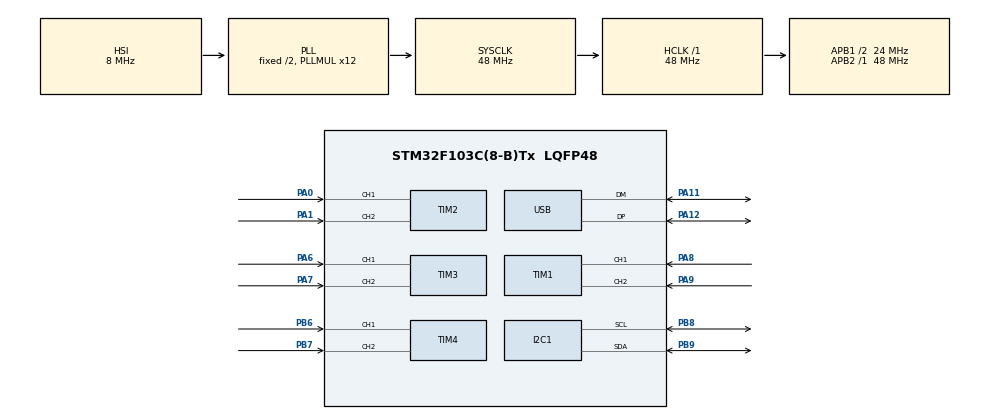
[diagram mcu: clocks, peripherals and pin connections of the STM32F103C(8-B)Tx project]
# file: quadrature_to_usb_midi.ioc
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Mcu.Family=STM32F1
Mcu.Name=STM32F103C(8-B)Tx
Mcu.Package=LQFP48
NVIC.I2C1_EV_IRQn=true\:0\:0\:false\:false\:true\:true\:true\:true
NVIC.PriorityGroup=NVIC_PRIORITYGROUP_4
NVIC.USB_LP_CAN1_RX0_IRQn=true\:0\:0\:false\:false\:true\:false\:true\:true
PA0-WKUP.GPIO_PuPd=GPIO_PULLUP
PA0-WKUP.Signal=S_TIM2_CH1_ETR
PA1.GPIO_PuPd=GPIO_PULLUP
PA1.Signal=S_TIM2_CH2
PA11.Mode=Device
PA11.Signal=USB_DM
PA12.Mode=Device
PA12.Signal=USB_DP
PA13.Mode=Serial_Wire
PA13.Signal=SYS_JTMS-SWDIO
PA14.Mode=Serial_Wire
PA14.Signal=SYS_JTCK-SWCLK
PA6.GPIO_PuPd=GPIO_PULLUP
PA6.Signal=S_TIM3_CH1
PA7.GPIO_PuPd=GPIO_PULLUP
PA7.Signal=S_TIM3_CH2
PA8.GPIO_PuPd=GPIO_PULLUP
PA8.Signal=S_TIM1_CH1
PA9.GPIO_PuPd=GPIO_PULLUP
PA9.Signal=S_TIM1_CH2
PB6.GPIO_PuPd=GPIO_PULLUP
PB6.Signal=S_TIM4_CH1
PB7.GPIO_PuPd=GPIO_PULLUP
PB7.Signal=S_TIM4_CH2
PB8.Mode=I2C
PB8.Signal=I2C1_SCL
PB9.Mode=I2C
PB9.Signal=I2C1_SDA
ProjectManager.HeapSize=0x200
ProjectManager.StackSize=0x400
ProjectManager.TargetToolchain=STM32CubeIDE
RCC.AHBFreq_Value=48000000
RCC.APB1CLKDivider=RCC_HCLK_DIV2
RCC.APB1Freq_Value=24000000
RCC.APB1TimFreq_Value=48000000
RCC.APB2Freq_Value=48000000
RCC.APB2TimFreq_Value=48000000
RCC.HCLKFreq_Value=48000000
RCC.PLLMUL=RCC_PLL_MUL12
RCC.PLLSource=RCC_PLLSOURCE_HSI_DIV2
RCC.PLLSourceVirtual=RCC_PLLSOURCE_HSI_DIV2
RCC.SYSCLKFreq_VALUE=48000000
RCC.SYSCLKSource=RCC_SYSCLKSOURCE_PLLCLK
RCC.USBFreq_Value=48000000
SH.S_TIM1_CH1.0=TIM1_CH1,Encoder_Interface
SH.S_TIM1_CH2.0=TIM1_CH2,Encoder_Interface
SH.S_TIM2_CH1_ETR.0=TIM2_CH1,Encoder_Interface
SH.S_TIM2_CH2.0=TIM2_CH2,Encoder_Interface
SH.S_TIM3_CH1.0=TIM3_CH1,Encoder_Interface
SH.S_TIM3_CH2.0=TIM3_CH2,Encoder_Interface
SH.S_TIM4_CH1.0=TIM4_CH1,Encoder_Interface
SH.S_TIM4_CH2.0=TIM4_CH2,Encoder_Interface
TIM1.EncoderMode=TIM_ENCODERMODE_TI12
TIM2.EncoderMode=TIM_ENCODERMODE_TI12
TIM3.EncoderMode=TIM_ENCODERMODE_TI12
TIM4.EncoderMode=TIM_ENCODERMODE_TI12
USB_DEVICE.CLASS_NAME_FS=HID
USB_DEVICE.VirtualMode=Hid
USB_DEVICE.VirtualModeFS=Hid_FS
VP_USB_DEVICE_VS_USB_DEVICE_HID_FS.Mode=HID_FS
board=custom

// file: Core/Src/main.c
/* USER CODE BEGIN Header */
/**
  ******************************************************************************
  * @file           : main.c
  * @brief          : Main program body
  ******************************************************************************
  * @attention
  *
  * Copyright (c) 2026 STMicroelectronics.
  * All rights reserved.
  *
  * This software is licensed under terms that can be found in the LICENSE file
  * in the root directory of this software component.
  * If no LICENSE file comes with this software, it is provided AS-IS.
  *
  ******************************************************************************
  */
/* USER CODE END Header */
#include "main.h"
#include "usb_device.h"

/* USER CODE BEGIN Includes */
#include "usbd_midi.h"
extern USBD_HandleTypeDef hUsbDeviceFS;

/* USER CODE END Includes */

I2C_HandleTypeDef hi2c1;

TIM_HandleTypeDef htim1;
TIM_HandleTypeDef htim2;
TIM_HandleTypeDef htim3;
TIM_HandleTypeDef htim4;

/* USER CODE BEGIN PV */
uint8_t TxData[4];
uint8_t I2C_RxData[4];
uint8_t UART_1_RxData[4];
uint8_t UART_2_RxData[4];
/* USER CODE END PV */

void SystemClock_Config(void);
static void MX_GPIO_Init(void);
static void MX_TIM1_Init(void);
static void MX_TIM2_Init(void);
static void MX_TIM3_Init(void);
static void MX_TIM4_Init(void);
static void MX_I2C1_Init(void);

/* USER CODE BEGIN 0 */
TIM_TypeDef *encoder[ENCODER_QUANTITY];

uint8_t RX_Buffer = 0;

void start_encoder(int encoder_nr)
{
	encoder[encoder_nr]->CR1 |= TIM_CR1_CEN;
	return;
}

int there_was_enough_time_since_the_last_transmission()
{
	static int previous_tick_value = 0;
	int temp_tick_value = HAL_GetTick();
	int difference = temp_tick_value - previous_tick_value;

	if(difference > 20){
		previous_tick_value = temp_tick_value;
		return 1;
	}

	return 0;
}

uint16_t previous_encoder_value[ENCODER_QUANTITY] = {0};

int did_encoder_change(int encoder_nr)
{
	uint16_t temp_encoder_value = encoder[encoder_nr]->CNT;

	if(temp_encoder_value == previous_encoder_value[encoder_nr])
		return 0;

	return 1;
}

void send_new_value(int channel, int value)
{
	uint8_t cable = 0;
	uint8_t code = 0xE;
	uint8_t message = 0xE;
	uint8_t data_1 = (value & 0b11111110000000) >> 7;
	uint8_t data_2 = value & 0b00000001111111;
	uint8_t packetsBuffer[4] = {
		// cable - represents the physical/virtual input port number (0 - 15) of the device
		// code - in general cases is equal to the midi message
		(cable << 4) | code,
		(message << 4) | channel,
		data_2,
		data_1
	};
#ifdef MASTER_MODUL
	while (USBD_MIDI_GetState(&hUsbDeviceFS) != MIDI_IDLE) {};
		USBD_MIDI_SendPackets(&hUsbDeviceFS, packetsBuffer, 4);
#else
	send_data_to_master_modul(channel, value);
#endif
	  return;
}

int get_difference(int encoder_nr)
{
	int difference = encoder[encoder_nr]->CNT - previous_encoder_value[encoder_nr];
	return difference;
}

void store_new_value_as_previous(encoder_nr)
{
	previous_encoder_value[encoder_nr] = encoder[encoder_nr]->CNT;
	return;
}

#ifdef I2C_MODUL
void send_data_to_master_modul(int channel, int value)
{
	HAL_I2C_Master_Transmit(&hi2c1, (SLAVE_ADDRESS_7BIT << 1), TxData, 4, 1000);
}

//this signifies that the previous transmit has finished
void HAL_I2C_SlaveTxCpltCallback(I2C_HandleTypeDef *hi2c) {
    if (hi2c->Instance == I2C1) {
        // Transmission finished
        HAL_GPIO_TogglePin(GPIOC, GPIO_PIN_13);
    }
}
#endif
#ifdef UART_MODUL_1
void send_data_to_master_modul(int channel, int value)
{
	HAL_UART_Transmit_IT(&huart1, TxData, 4);
}

void HAL_UART_TxCpltCallback(UART_HandleTypeDef *huart)
{

}
#endif
#ifdef UART_MODUL_2
void send_data_to_master_modul(int channel, int value)
{
	HAL_UART_Transmit_IT(&huart2, TxData, 4);
}

void HAL_UART_TxCpltCallback(UART_HandleTypeDef *huart)
{

}
#endif
#ifdef MASTER_MODUL
void receive_data_from_i2c_side_modul()
{
	HAL_I2C_EnableListen_IT(&hi2c1);
}

void receive_data_from_uart_1_side_modul()
{
	HAL_UART_Receive_IT(&huart1, UART_1_RxData, 4);
}

void receive_data_from_uart_2_side_modul()
{
	HAL_UART_Receive_IT(&huart2, UART_2_RxData, 4);
}

void HAL_I2C_AddrCallback(I2C_HandleTypeDef *hi2c, uint8_t TransferDirection, uint16_t AddrMatchCode)
{
	//I2C_DIRECTION_RECEIVE
	if(TransferDirection == I2C_DIRECTION_TRANSMIT)  // if the master wants to transmit the data
	{
		HAL_I2C_Slave_Seq_Receive_IT(hi2c, I2C_RxData, 4, I2C_FIRST_FRAME);
	}
}

void HAL_UART_RxCpltCallback(UART_HandleTypeDef *huart)
{
	send_new_value();
	if(huart ==  &huart1)
		HAL_UART_Receive_IT(&huart, UART_1_RxData, 4);
	if(huart ==  &huart2)
		HAL_UART_Receive_IT(&huart, UART_2_RxData, 4);
}

void HAL_I2C_SlaveRxCpltCallback(I2C_HandleTypeDef *hi2c)
{
	int channel, value;
	send_new_value(channel, value);
	//should this be here or really in ListenCpltCallback?...
	//HAL_I2C_EnableListen_IT(hi2c);
}

void HAL_I2C_ListenCpltCallback (I2C_HandleTypeDef *hi2c)
{
	HAL_I2C_EnableListen_IT(hi2c);
}

#endif

/* USER CODE END 0 */

int main(void)
{

  /* MCU Configuration--------------------------------------------------------*/

  /* Reset of all peripherals, Initializes the Flash interface and the Systick. */
  HAL_Init();

  /* Configure the system clock */
  SystemClock_Config();

  /* Initialize all configured peripherals */
  MX_GPIO_Init();
  MX_TIM1_Init();
  MX_USB_DEVICE_Init();
  MX_TIM2_Init();
  MX_TIM3_Init();
  MX_TIM4_Init();
  MX_I2C1_Init();
  /* USER CODE BEGIN 2 */
  encoder[0] = TIM1;
  encoder[1] = TIM2;
  encoder[2] = TIM3;
  encoder[3] = TIM4;
  for(int encoder_nr = 0; encoder_nr < ENCODER_QUANTITY; encoder_nr++)
	  start_encoder(encoder_nr);

  int counter = 0;

  /* USER CODE END 2 */

  /* Infinite loop */
  /* USER CODE BEGIN WHILE */
#ifdef MASTER_MODUL
  receive_data_from_i2c_side_modul();
  receive_data_from_uart_1_side_modul();
  receive_data_from_uart_2_side_modul();
#endif
  while (1)
  {
	  counter++;
	  int encoder_nr = counter % ENCODER_QUANTITY;

	  if(did_encoder_change(encoder_nr))
		  if(there_was_enough_time_since_the_last_transmission()){
			  send_new_value(encoder_nr, get_difference(encoder_nr));
			  store_new_value_as_previous(encoder_nr);
		  }
    /* USER CODE END WHILE */

  }
}

void SystemClock_Config(void)
{
  RCC_OscInitTypeDef RCC_OscInitStruct = {0};
  RCC_ClkInitTypeDef RCC_ClkInitStruct = {0};
  RCC_PeriphCLKInitTypeDef PeriphClkInit = {0};

  /** Initializes the RCC Oscillators according to the specified parameters
  * in the RCC_OscInitTypeDef structure.
  */
  RCC_OscInitStruct.OscillatorType = RCC_OSCILLATORTYPE_HSI;
  RCC_OscInitStruct.HSIState = RCC_HSI_ON;
  RCC_OscInitStruct.HSICalibrationValue = RCC_HSICALIBRATION_DEFAULT;
  RCC_OscInitStruct.PLL.PLLState = RCC_PLL_ON;
  RCC_OscInitStruct.PLL.PLLSource = RCC_PLLSOURCE_HSI_DIV2;
  RCC_OscInitStruct.PLL.PLLMUL = RCC_PLL_MUL12;
  if (HAL_RCC_OscConfig(&RCC_OscInitStruct) != HAL_OK)
  {
    Error_Handler();
  }

  /** Initializes the CPU, AHB and APB buses clocks
  */
  RCC_ClkInitStruct.ClockType = RCC_CLOCKTYPE_HCLK|RCC_CLOCKTYPE_SYSCLK
                              |RCC_CLOCKTYPE_PCLK1|RCC_CLOCKTYPE_PCLK2;
  RCC_ClkInitStruct.SYSCLKSource = RCC_SYSCLKSOURCE_PLLCLK;
  RCC_ClkInitStruct.AHBCLKDivider = RCC_SYSCLK_DIV1;
  RCC_ClkInitStruct.APB1CLKDivider = RCC_HCLK_DIV2;
  RCC_ClkInitStruct.APB2CLKDivider = RCC_HCLK_DIV1;

  if (HAL_RCC_ClockConfig(&RCC_ClkInitStruct, FLASH_LATENCY_1) != HAL_OK)
  {
    Error_Handler();
  }
  PeriphClkInit.PeriphClockSelection = RCC_PERIPHCLK_USB;
  PeriphClkInit.UsbClockSelection = RCC_USBCLKSOURCE_PLL;
  if (HAL_RCCEx_PeriphCLKConfig(&PeriphClkInit) != HAL_OK)
  {
    Error_Handler();
  }
}

static void MX_I2C1_Init(void)
{

  hi2c1.Instance = I2C1;
  hi2c1.Init.ClockSpeed = 100000;
  hi2c1.Init.DutyCycle = I2C_DUTYCYCLE_2;
  hi2c1.Init.OwnAddress1 = 0;
  hi2c1.Init.AddressingMode = I2C_ADDRESSINGMODE_7BIT;
  hi2c1.Init.DualAddressMode = I2C_DUALADDRESS_DISABLE;
  hi2c1.Init.OwnAddress2 = 0;
  hi2c1.Init.GeneralCallMode = I2C_GENERALCALL_DISABLE;
  hi2c1.Init.NoStretchMode = I2C_NOSTRETCH_DISABLE;
  if (HAL_I2C_Init(&hi2c1) != HAL_OK)
  {
    Error_Handler();
  }

}

static void MX_TIM1_Init(void)
{

  TIM_Encoder_InitTypeDef sConfig = {0};
  TIM_MasterConfigTypeDef sMasterConfig = {0};

  htim1.Instance = TIM1;
  htim1.Init.Prescaler = 0;
  htim1.Init.CounterMode = TIM_COUNTERMODE_UP;
  htim1.Init.Period = 65535;
  htim1.Init.ClockDivision = TIM_CLOCKDIVISION_DIV1;
  htim1.Init.RepetitionCounter = 0;
  htim1.Init.AutoReloadPreload = TIM_AUTORELOAD_PRELOAD_DISABLE;
  sConfig.EncoderMode = TIM_ENCODERMODE_TI12;
  sConfig.IC1Polarity = TIM_ICPOLARITY_RISING;
  sConfig.IC1Selection = TIM_ICSELECTION_DIRECTTI;
  sConfig.IC1Prescaler = TIM_ICPSC_DIV1;
  sConfig.IC1Filter = 0;
  sConfig.IC2Polarity = TIM_ICPOLARITY_RISING;
  sConfig.IC2Selection = TIM_ICSELECTION_DIRECTTI;
  sConfig.IC2Prescaler = TIM_ICPSC_DIV1;
  sConfig.IC2Filter = 0;
  if (HAL_TIM_Encoder_Init(&htim1, &sConfig) != HAL_OK)
  {
    Error_Handler();
  }
  sMasterConfig.MasterOutputTrigger = TIM_TRGO_RESET;
  sMasterConfig.MasterSlaveMode = TIM_MASTERSLAVEMODE_DISABLE;
  if (HAL_TIMEx_MasterConfigSynchronization(&htim1, &sMasterConfig) != HAL_OK)
  {
    Error_Handler();
  }

}

static void MX_TIM2_Init(void)
{

  TIM_Encoder_InitTypeDef sConfig = {0};
  TIM_MasterConfigTypeDef sMasterConfig = {0};

  htim2.Instance = TIM2;
  htim2.Init.Prescaler = 0;
  htim2.Init.CounterMode = TIM_COUNTERMODE_UP;
  htim2.Init.Period = 65535;
  htim2.Init.ClockDivision = TIM_CLOCKDIVISION_DIV1;
  htim2.Init.AutoReloadPreload = TIM_AUTORELOAD_PRELOAD_DISABLE;
  sConfig.EncoderMode = TIM_ENCODERMODE_TI12;
  sConfig.IC1Polarity = TIM_ICPOLARITY_RISING;
  sConfig.IC1Selection = TIM_ICSELECTION_DIRECTTI;
  sConfig.IC1Prescaler = TIM_ICPSC_DIV1;
  sConfig.IC1Filter = 0;
  sConfig.IC2Polarity = TIM_ICPOLARITY_RISING;
  sConfig.IC2Selection = TIM_ICSELECTION_DIRECTTI;
  sConfig.IC2Prescaler = TIM_ICPSC_DIV1;
  sConfig.IC2Filter = 0;
  if (HAL_TIM_Encoder_Init(&htim2, &sConfig) != HAL_OK)
  {
    Error_Handler();
  }
  sMasterConfig.MasterOutputTrigger = TIM_TRGO_RESET;
  sMasterConfig.MasterSlaveMode = TIM_MASTERSLAVEMODE_DISABLE;
  if (HAL_TIMEx_MasterConfigSynchronization(&htim2, &sMasterConfig) != HAL_OK)
  {
    Error_Handler();
  }

}

static void MX_TIM3_Init(void)
{

  TIM_Encoder_InitTypeDef sConfig = {0};
  TIM_MasterConfigTypeDef sMasterConfig = {0};

  htim3.Instance = TIM3;
  htim3.Init.Prescaler = 0;
  htim3.Init.CounterMode = TIM_COUNTERMODE_UP;
  htim3.Init.Period = 65535;
  htim3.Init.ClockDivision = TIM_CLOCKDIVISION_DIV1;
  htim3.Init.AutoReloadPreload = TIM_AUTORELOAD_PRELOAD_DISABLE;
  sConfig.EncoderMode = TIM_ENCODERMODE_TI12;
  sConfig.IC1Polarity = TIM_ICPOLARITY_RISING;
  sConfig.IC1Selection = TIM_ICSELECTION_DIRECTTI;
  sConfig.IC1Prescaler = TIM_ICPSC_DIV1;
  sConfig.IC1Filter = 0;
  sConfig.IC2Polarity = TIM_ICPOLARITY_RISING;
  sConfig.IC2Selection = TIM_ICSELECTION_DIRECTTI;
  sConfig.IC2Prescaler = TIM_ICPSC_DIV1;
  sConfig.IC2Filter = 0;
  if (HAL_TIM_Encoder_Init(&htim3, &sConfig) != HAL_OK)
  {
    Error_Handler();
  }
  sMasterConfig.MasterOutputTrigger = TIM_TRGO_RESET;
  sMasterConfig.MasterSlaveMode = TIM_MASTERSLAVEMODE_DISABLE;
  if (HAL_TIMEx_MasterConfigSynchronization(&htim3, &sMasterConfig) != HAL_OK)
  {
    Error_Handler();
  }

}

static void MX_TIM4_Init(void)
{

  TIM_Encoder_InitTypeDef sConfig = {0};
  TIM_MasterConfigTypeDef sMasterConfig = {0};

  htim4.Instance = TIM4;
  htim4.Init.Prescaler = 0;
  htim4.Init.CounterMode = TIM_COUNTERMODE_UP;
  htim4.Init.Period = 65535;
  htim4.Init.ClockDivision = TIM_CLOCKDIVISION_DIV1;
  htim4.Init.AutoReloadPreload = TIM_AUTORELOAD_PRELOAD_DISABLE;
  sConfig.EncoderMode = TIM_ENCODERMODE_TI12;
  sConfig.IC1Polarity = TIM_ICPOLARITY_RISING;
  sConfig.IC1Selection = TIM_ICSELECTION_DIRECTTI;
  sConfig.IC1Prescaler = TIM_ICPSC_DIV1;
  sConfig.IC1Filter = 0;
  sConfig.IC2Polarity = TIM_ICPOLARITY_RISING;
  sConfig.IC2Selection = TIM_ICSELECTION_DIRECTTI;
  sConfig.IC2Prescaler = TIM_ICPSC_DIV1;
  sConfig.IC2Filter = 0;
  if (HAL_TIM_Encoder_Init(&htim4, &sConfig) != HAL_OK)
  {
    Error_Handler();
  }
  sMasterConfig.MasterOutputTrigger = TIM_TRGO_RESET;
  sMasterConfig.MasterSlaveMode = TIM_MASTERSLAVEMODE_DISABLE;
  if (HAL_TIMEx_MasterConfigSynchronization(&htim4, &sMasterConfig) != HAL_OK)
  {
    Error_Handler();
  }

}

static void MX_GPIO_Init(void)
{

  /* GPIO Ports Clock Enable */
  __HAL_RCC_GPIOA_CLK_ENABLE();
  __HAL_RCC_GPIOB_CLK_ENABLE();

}

void Error_Handler(void)
{
  __disable_irq();
  while (1)
  {
  }
}
